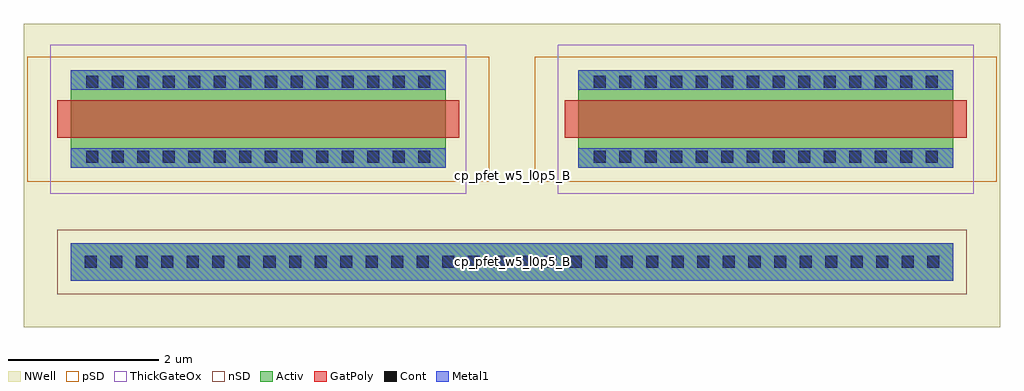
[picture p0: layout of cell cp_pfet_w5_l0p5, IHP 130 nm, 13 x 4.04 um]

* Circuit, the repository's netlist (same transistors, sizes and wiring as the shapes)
* extracted by klt extract --deck sg13cmos5l

* cell cp_pfet_w5_l0p5
* pin VDD
.SUBCKT cp_pfet_w5_l0p5 VDD
* device instance $1 r0 *1 3.8,3.11 pfet
X$1 \$6 \$2 \$3 VDD sg13_hv_pmos L=0.5U W=5U AS=2P AD=2P PS=10.8U PD=10.8U
* device instance $2 r0 *1 10.76,3.11 pfet
X$2 \$7 \$4 \$5 VDD sg13_hv_pmos L=0.5U W=5U AS=2P AD=2P PS=10.8U PD=10.8U
.ENDS cp_pfet_w5_l0p5

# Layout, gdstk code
import gdstk
lib = gdstk.Library(unit=1e-6, precision=1e-09)
def R(c, l, rs):  # rectangles x0, y0, x1, y1
    for r in rs: c.add(gdstk.rectangle(r[:2], r[2:], *l))
def A(c, l, x, y, w, h, nx, ny, dx, dy):  # array of equal rectangles
    R(c, l, [(x+i*dx, y+j*dy, x+i*dx+w, y+j*dy+h) for i in range(nx) for j in range(ny)])
Activ = (1, 0)
GatPoly = (5, 0)
Cont = (6, 0)
nSD = (7, 0)
Metal1 = (8, 0)
pSD = (14, 0)
NWell = (31, 0)
ThickGateOx = (44, 0)

cp_pfet_w5_l0p5 = lib.new_cell('cp_pfet_w5_l0p5')
R(cp_pfet_w5_l0p5, Activ, [(1.2,0.96,12.96,1.46), (1.2,2.46,6.2,3.76), (7.96,2.46,12.96,3.76)])
R(cp_pfet_w5_l0p5, GatPoly, [(1.02,2.86,6.38,3.36), (7.78,2.86,13.14,3.36)])
A(cp_pfet_w5_l0p5, Cont, 1.39, 1.13, 0.16, 0.16, 34, 1, 0.34, 0)
A(cp_pfet_w5_l0p5, Cont, 1.41, 2.53, 0.16, 0.16, 14, 2, 0.34, 1)
A(cp_pfet_w5_l0p5, Cont, 8.17, 2.53, 0.16, 0.16, 14, 2, 0.34, 1)
R(cp_pfet_w5_l0p5, nSD, [(1.02,0.78,13.14,1.64)])
R(cp_pfet_w5_l0p5, Metal1, [(1.2,0.96,12.96,1.46), (1.2,2.46,6.2,2.72), (7.96,2.46,12.96,2.72), (1.2,3.5,6.2,3.76), (7.96,3.5,12.96,3.76)])
R(cp_pfet_w5_l0p5, pSD, [(0.62,2.28,6.78,3.94), (7.38,2.28,13.54,3.94)])
R(cp_pfet_w5_l0p5, NWell, [(0.58,0.34,13.58,4.38)])
R(cp_pfet_w5_l0p5, ThickGateOx, [(0.93,2.12,6.47,4.1), (7.69,2.12,13.23,4.1)])
cp_pfet_w5_l0p5.add(gdstk.Label('cp_pfet_w5_l0p5_B', (7.08,1.21), layer=8, texttype=2))
cp_pfet_w5_l0p5.add(gdstk.Label('cp_pfet_w5_l0p5_B', (7.08,2.36), layer=31, texttype=2))

lib.write_gds('cp_pfet_w5_l0p5.gds')
